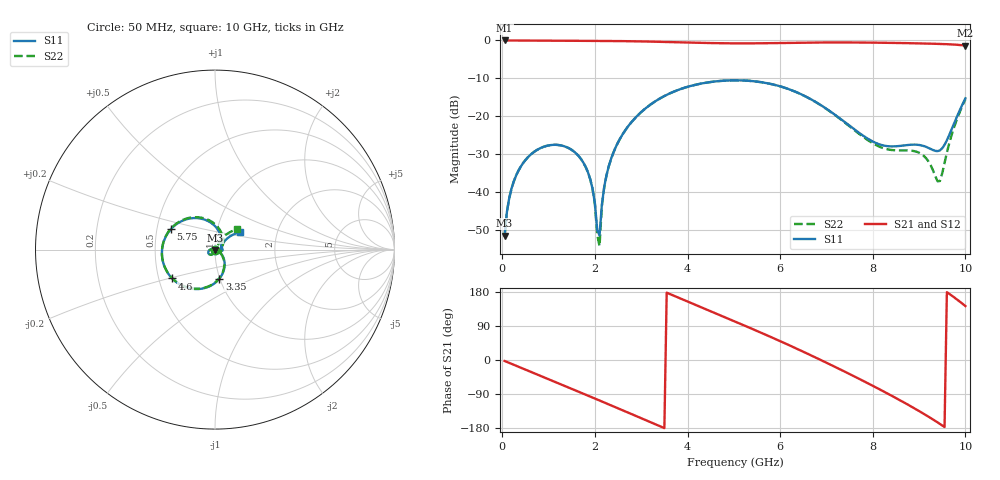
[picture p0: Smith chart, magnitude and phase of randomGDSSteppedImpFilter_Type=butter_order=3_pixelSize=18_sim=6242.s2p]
! freq	dB(S11)	phase(S11)	dB(S12)	phase(S12)
!  dB(S21)	phase(S21)	dB(S22)	phase(S22)
!S-par simulation data
#  GHz  S  DB  R 50
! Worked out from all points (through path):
!   200 points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, 50 MHz to 10 GHz, reference 50 ohm
!   highest |S21| = 0.00 dB at 50 MHz (marker M1); lowest = -1.4 dB at 10 GHz (marker M2)
!   group delay of S21, straight-line fit = 154 ps
!   lowest |S11| = -51.5 dB at 50 MHz (marker M3), VSWR 1.01, Z = 50 - j0.266 ohm
!   |S11| at or under -10 dB: start of sweep to end of sweep
!   |S22| runs from -54.3 to -10.5 dB; largest |S21 - S12| = 0
!   S11 on the Smith chart (normalised r, x): 50 MHz: 1.00, -0.01; 3.35 GHz: 0.99, -0.33; 4.6 GHz: 0.59, -0.21; 5.75 GHz: 0.59, +0.15; 10 GHz: 1.30, +0.26
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0.05  -51.51 -88.4  -0.00 -2.6  -0.00 -2.6  -51.51 -88.5
0.2  -39.08 -98.1  -0.02 -10.2  -0.02 -10.2  -39.08 -98.0
0.6  -30.28 -120.6  -0.05 -30.5  -0.05 -30.5  -30.28 -120.4
1.25  -27.67 -155.0  -0.08 -63.4  -0.08 -63.4  -27.67 -154.3
1.75  -32.24 177.7  -0.11 -88.9  -0.11 -88.9  -32.24 179.8
1.95  -39.21 162.5  -0.12 -99.1  -0.12 -99.1  -39.27 168.2
2.05  -50.02 130.8  -0.12 -104.3  -0.12 -104.3  -51.35 154.2
2.1  -51.46 32.9  -0.13 -106.8  -0.13 -106.8  -54.31 11.2
2.15  -43.40 -3.6  -0.13 -109.4  -0.13 -109.4  -43.74 -15.1
2.2  -38.74 -12.8  -0.14 -112.0  -0.14 -112.0  -38.87 -19.6
2.4  -29.58 -28.8  -0.15 -122.4  -0.15 -122.4  -29.60 -31.6
3.35  -15.71 -81.5  -0.34 -171.9  -0.34 -171.9  -15.71 -82.6
3.4  -15.34 -84.2  -0.36 -174.5  -0.36 -174.5  -15.35 -85.2
4.6  -10.82 -146.1  -0.71 123.4  -0.71 123.4  -10.82 -147.2
5.05  -10.52 -168.7  -0.77 100.2  -0.77 100.2  -10.53 -169.9
5.75  -11.36 154.9  -0.73 63.3  -0.73 63.3  -11.37 153.2
6.7  -15.77 103.3  -0.56 10.3  -0.56 10.3  -15.79 99.4
7.45  -22.05 65.0  -0.53 -34.1  -0.53 -34.1  -22.20 55.0
8.35  -27.94 23.4  -0.63 -90.5  -0.63 -90.5  -28.82 -1.5
9.05  -27.71 -8.4  -0.79 -138.3  -0.79 -138.3  -29.99 -36.0
9.45  -29.03 12.5  -0.92 -168.7  -0.92 -168.7  -37.11 17.6
10  -15.29 34.7  -1.35 142.3  -1.35 142.3  -15.52 42.6
